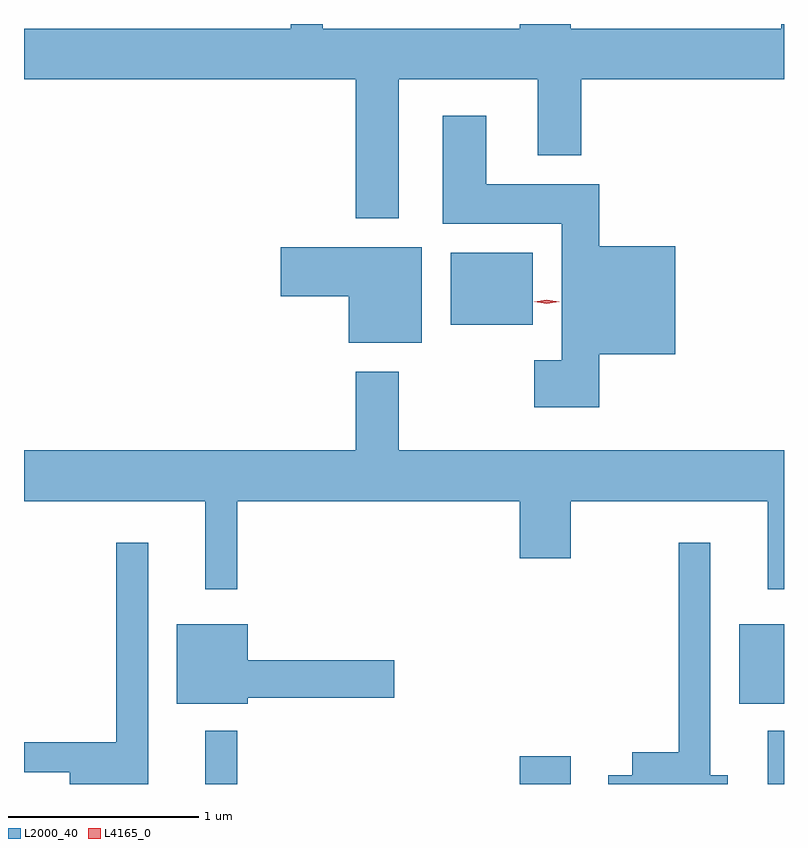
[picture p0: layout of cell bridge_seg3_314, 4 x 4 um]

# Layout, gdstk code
import gdstk
lib = gdstk.Library(unit=1e-6, precision=1e-09)
def R(c, l, rs):  # rectangles x0, y0, x1, y1
    for r in rs: c.add(gdstk.rectangle(r[:2], r[2:], *l))
def P(c, l, *ps):  # polygons
    for p in ps: c.add(gdstk.Polygon(p, *l))
L2000_40 = (2000, 40)
L4165_0 = (4165, 0)

bridge_seg3_314 = lib.new_cell('bridge_seg3_314')
R(bridge_seg3_314, L2000_40, [(593.041,1133.408,593.209,1133.688), (594.696,1133.408,594.964,1133.554), (596.001,1133.408,596.086,1133.688), (595.851,1133.831,596.086,1134.249), (594.331,1135.826,594.764,1136.204)])
P(bridge_seg3_314, L2000_40, [(594.059,1137.116),(594.791,1137.116),(594.791,1136.716),(595.019,1136.716),(595.019,1137.116),(596.086,1137.116),(596.086,1137.408),(596.071,1137.408),(596.071,1137.384),(594.964,1137.384),(594.964,1137.408),(594.696,1137.408),(594.696,1137.384),(593.659,1137.384),(593.659,1137.408),(593.491,1137.408),(593.491,1137.384),(592.086,1137.384),(592.086,1137.116),(593.831,1137.116),(593.831,1136.386),(594.059,1136.386)],
  [(595.114,1135.671),(595.514,1135.671),(595.514,1136.239),(595.114,1136.239),(595.114,1136.564),(594.519,1136.564),(594.519,1136.924),(594.291,1136.924),(594.291,1136.356),(594.916,1136.356),(594.916,1135.639),(594.771,1135.639),(594.771,1135.391),(595.114,1135.391)],
  [(594.179,1136.234),(593.436,1136.234),(593.436,1135.976),(593.796,1135.976),(593.796,1135.731),(594.179,1135.731)],
  [(593.209,1134.896),(594.696,1134.896),(594.696,1134.596),(594.964,1134.596),(594.964,1134.896),(596.001,1134.896),(596.001,1134.433),(596.086,1134.433),(596.086,1135.164),(594.059,1135.164),(594.059,1135.579),(593.831,1135.579),(593.831,1135.164),(592.086,1135.164),(592.086,1134.896),(593.041,1134.896),(593.041,1134.433),(593.209,1134.433)],
  [(595.789,1133.454),(595.699,1133.454),(595.699,1134.678),(595.531,1134.678),(595.531,1133.574),(595.286,1133.574),(595.286,1133.454),(595.161,1133.454),(595.161,1133.408),(595.789,1133.408)],
  [(592.739,1134.678),(592.571,1134.678),(592.571,1133.629),(592.086,1133.629),(592.086,1133.471),(592.326,1133.471),(592.326,1133.408),(592.739,1133.408)],
  [(593.264,1133.861),(594.034,1133.861),(594.034,1134.059),(593.264,1134.059),(593.264,1134.249),(592.891,1134.249),(592.891,1133.831),(593.264,1133.831)])
P(bridge_seg3_314, L4165_0, [(594.837,1135.936),(594.771,1135.946),(594.77,1135.946),(594.771,1135.946),(594.837,1135.956),(594.904,1135.946),(594.904,1135.946),(594.904,1135.946)])

lib.write_gds('bridge_seg3_314.gds')
